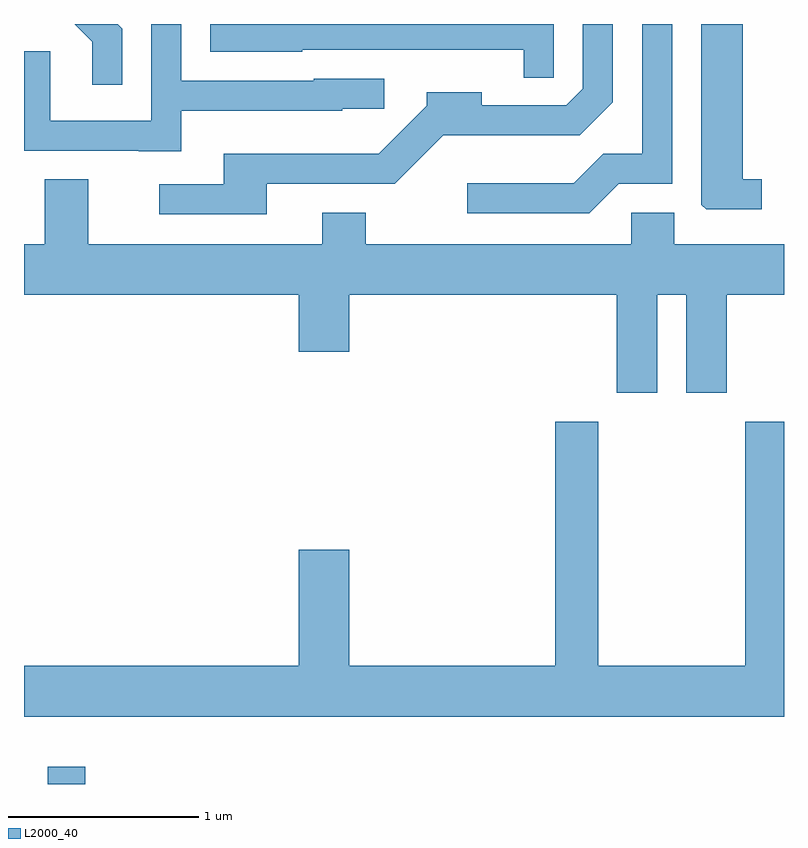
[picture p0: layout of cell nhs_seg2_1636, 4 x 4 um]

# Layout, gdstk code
import gdstk
lib = gdstk.Library(unit=1e-6, precision=1e-09)
def R(c, l, rs):  # rectangles x0, y0, x1, y1
    for r in rs: c.add(gdstk.rectangle(r[:2], r[2:], *l))
def P(c, l, *ps):  # polygons
    for p in ps: c.add(gdstk.Polygon(p, *l))
L2000_40 = (2000, 40)

nhs_seg2_1636 = lib.new_cell('nhs_seg2_1636')
R(nhs_seg2_1636, L2000_40, [(233.736,985.802,233.934,985.894)])
P(nhs_seg2_1636, L2000_40, [(236.399,989.802),(234.591,989.802),(234.591,989.656),(235.075,989.656),(235.075,989.666),(236.241,989.666),(236.241,989.518),(236.399,989.518)],
  [(236.742,988.961),(237.024,988.961),(237.024,989.802),(236.866,989.802),(236.866,989.119),(236.659,989.119),(236.504,988.964),(235.943,988.964),(235.943,988.806),(236.587,988.806)],
  [(234.889,988.961),(235.562,988.961),(235.817,989.216),(236.537,989.216),(236.709,989.389),(236.709,989.802),(236.551,989.802),(236.551,989.462),(236.464,989.374),(236.019,989.374),(236.019,989.444),(235.731,989.444),(235.731,989.372),(235.479,989.119),(234.661,989.119),(234.661,988.959),(234.323,988.959),(234.323,988.801),(234.889,988.801)],
  [(234.129,989.777),(234.104,989.802),(233.878,989.802),(233.971,989.709),(233.971,989.483),(234.129,989.483)],
  [(237.493,988.984),(237.394,988.984),(237.394,989.802),(237.176,989.802),(237.176,988.852),(237.202,988.826),(237.493,988.826)],
  [(234.439,989.346),(235.285,989.346),(235.285,989.356),(235.508,989.356),(235.508,989.514),(235.135,989.514),(235.135,989.504),(234.439,989.504),(234.439,989.802),(234.281,989.802),(234.281,989.294),(233.749,989.294),(233.749,989.659),(233.611,989.659),(233.611,989.136),(234.215,989.136),(234.215,989.131),(234.439,989.131)],
  [(236.944,988.376),(237.096,988.376),(237.096,987.861),(237.309,987.861),(237.309,988.376),(237.611,988.376),(237.611,988.644),(237.034,988.644),(237.034,988.809),(236.806,988.809),(236.806,988.644),(235.409,988.644),(235.409,988.809),(235.181,988.809),(235.181,988.644),(233.949,988.644),(233.949,988.984),(233.721,988.984),(233.721,988.644),(233.611,988.644),(233.611,988.376),(235.056,988.376),(235.056,988.076),(235.324,988.076),(235.324,988.376),(236.731,988.376),(236.731,987.861),(236.944,987.861)],
  [(237.611,987.709),(237.406,987.709),(237.406,986.424),(236.634,986.424),(236.634,987.709),(236.406,987.709),(236.406,986.424),(235.324,986.424),(235.324,987.034),(235.056,987.034),(235.056,986.424),(233.611,986.424),(233.611,986.156),(237.611,986.156)])

lib.write_gds('nhs_seg2_1636.gds')
